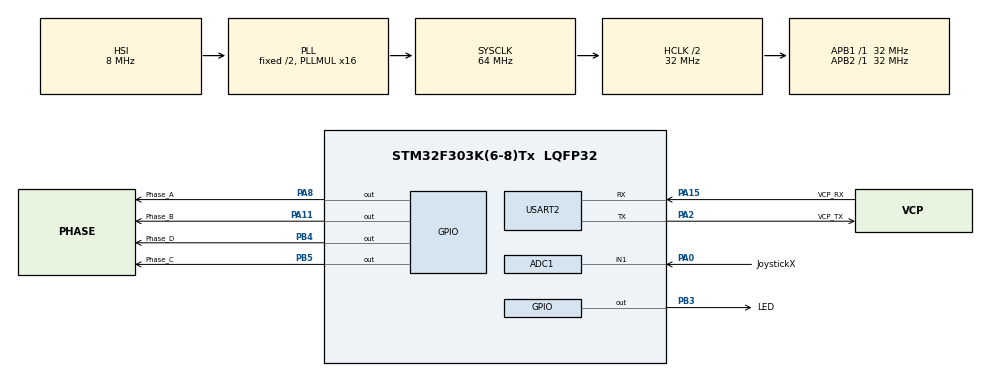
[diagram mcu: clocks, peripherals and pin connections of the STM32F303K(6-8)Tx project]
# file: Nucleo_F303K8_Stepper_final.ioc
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Mcu.Family=STM32F3
RCC.CortexFreq_Value=32000000
ADC1.Rank-0\#ChannelRegularConversion=1
PF0\ /\ OSC_IN.Mode=HSE-External-Clock-Source
ADC1.OffsetNumber-0\#ChannelRegularConversion=ADC_OFFSET_NONE
PA14.GPIO_Label=SWCLK
RCC.SYSCLKSourceVirtual=RCC_SYSCLKSOURCE_PLLCLK
PA0.GPIO_Label=JoystickX
PA11.GPIO_Label=Phase_B
VP_TIM16_VS_ClockSourceINT.Mode=Enable_Timer
NVIC.USART2_IRQn=true\:0\:0\:false\:false\:true\:true\:true
ProjectManager.StackSize=0x400
PA13.Signal=SYS_JTMS-SWDIO
PA15.GPIO_Label=VCP_RX
PA8.GPIO_Label=Phase_A
ProjectManager.TargetToolchain=STM32CubeIDE
ADC1.SamplingTimeOPAMP-0\#ChannelRegularConversion=ADC_SAMPLETIME_61CYCLES_5
ADC1.Offset-0\#ChannelRegularConversion=0
RCC.HCLKFreq_Value=32000000
RCC.APB2TimFreq_Value=32000000
ADC1.SubFamily=STM32F303x8
RCC.AHBFreq_Value=32000000
ADC1.Channel-0\#ChannelRegularConversion=ADC_CHANNEL_1
RCC.HSE_VALUE=8000000
board=NUCLEO-F303K8
USART2.VirtualMode-Asynchronous=VM_ASYNC
PA15.Mode=Asynchronous
RCC.PLLMUL=RCC_PLL_MUL16
TIM16.Period=1
RCC.APB2Freq_Value=32000000
PF0\ /\ OSC_IN.Signal=RCC_OSC_IN
PB4.GPIO_Label=Phase_D
PA14.Mode=Serial_Wire
PF0\ /\ OSC_IN.GPIO_Label=MCO
PA0.Mode=IN1-Single-Ended
PA8.Signal=GPIO_Output
RCC.AHBCLKDivider=RCC_SYSCLK_DIV2
PA13.Mode=Serial_Wire
Mcu.Name=STM32F303K(6-8)Tx
ADC1.SamplingTime-0\#ChannelRegularConversion=ADC_SAMPLETIME_1CYCLE_5
PA2.Signal=USART2_TX
PA13.GPIO_Label=SWDIO
PA0.Signal=ADC1_IN1
PB3.Signal=GPIO_Output
RCC.SYSCLKFreq_VALUE=64000000
Mcu.Package=LQFP32
PB5.Signal=GPIO_Output
ADC1.master=1
PA2.GPIO_Label=VCP_TX
PA11.Signal=GPIO_Output
PA14.Signal=SYS_JTCK-SWCLK
PA15.Signal=USART2_RX
ProjectManager.HeapSize=0x200
RCC.HSI_VALUE=8000000
NVIC.TIM1_UP_TIM16_IRQn=true\:0\:0\:false\:false\:true\:true\:true
NVIC.PriorityGroup=NVIC_PRIORITYGROUP_4
ADC1.NbrOfConversionFlag=1
PB5.GPIO_Label=Phase_C
RCC.APB1TimFreq_Value=32000000
PA2.Mode=Asynchronous
TIM16.Prescaler=16000-1
RCC.APB1Freq_Value=32000000
PB4.Signal=GPIO_Output
PB3.GPIO_Label=LED

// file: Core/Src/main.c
/* USER CODE BEGIN Header */
/**
  ******************************************************************************
  * @file           : main.c
  * @brief          : Main program body
  ******************************************************************************
  * @attention
  *
  * <h2><center>&copy; Copyright (c) 2021 STMicroelectronics.
  * All rights reserved.</center></h2>
  *
  * This software component is licensed by ST under BSD 3-Clause license,
  * the "License"; You may not use this file except in compliance with the
  * License. You may obtain a copy of the License at:
  *                        opensource.org/licenses/BSD-3-Clause
  *
  ******************************************************************************
  */
/* USER CODE END Header */
#include "main.h"

/* USER CODE BEGIN Includes */
#include <stdio.h>		// sprintf
#include <string.h>		// strlen
#include "statemachine.h"
#include "joystick.h"
/* USER CODE END Includes */

ADC_HandleTypeDef hadc1;

TIM_HandleTypeDef htim16;

UART_HandleTypeDef huart2;

/* USER CODE BEGIN PV */

char txBuf[TXBUFLEN];
unsigned int Iteration = 0;

char rxBuf[RXBUFLEN];
unsigned int rxBufIndex = 0;
char rxChar; // used for reading into RxBuf one character at a time

unsigned long ms_tick = 0;			// ms tick, used in TIM16 ISR

/* USER CODE END PV */

void SystemClock_Config(void);
static void MX_GPIO_Init(void);
static void MX_USART2_UART_Init(void);
static void MX_TIM16_Init(void);
static void MX_ADC1_Init(void);

int main(void)
{

  /* MCU Configuration--------------------------------------------------------*/

  /* Reset of all peripherals, Initializes the Flash interface and the Systick. */
  HAL_Init();

  /* Configure the system clock */
  SystemClock_Config();

  /* Initialize all configured peripherals */
  MX_GPIO_Init();
  MX_USART2_UART_Init();
  MX_TIM16_Init();
  MX_ADC1_Init();
  /* USER CODE BEGIN 2 */

  JoystickInit(20, 0.25);
  StateMachineInit();				// put my state machine into a known state
  HAL_TIM_Base_Start_IT(&htim16);	// start the 1ms timer

  sprintf (txBuf, "Nucleo_F303K8_Stepper\r\n");
  HAL_UART_Transmit_IT (&huart2, (uint8_t *)txBuf, strlen (txBuf));

  HAL_UART_Receive_IT(&huart2, (uint8_t *)&rxChar, 1);	// kick off the reading
  /* USER CODE END 2 */

  /* Infinite loop */
  while (1)
  {

    /* USER CODE BEGIN 3 */
	  //sprintf (txBuf, "Iteration %04d\r\n", Iteration);
	  Iteration++;
	  //HAL_UART_Transmit_IT (&huart2, (uint8_t*)txBuf, strlen (txBuf));
	  HAL_Delay(995);
  }
  /* USER CODE END 3 */
}

void SystemClock_Config(void)
{
  RCC_OscInitTypeDef RCC_OscInitStruct = {0};
  RCC_ClkInitTypeDef RCC_ClkInitStruct = {0};
  RCC_PeriphCLKInitTypeDef PeriphClkInit = {0};

  /** Initializes the RCC Oscillators according to the specified parameters
  * in the RCC_OscInitTypeDef structure.
  */
  RCC_OscInitStruct.OscillatorType = RCC_OSCILLATORTYPE_HSI;
  RCC_OscInitStruct.HSIState = RCC_HSI_ON;
  RCC_OscInitStruct.HSICalibrationValue = RCC_HSICALIBRATION_DEFAULT;
  RCC_OscInitStruct.PLL.PLLState = RCC_PLL_ON;
  RCC_OscInitStruct.PLL.PLLSource = RCC_PLLSOURCE_HSI;
  RCC_OscInitStruct.PLL.PLLMUL = RCC_PLL_MUL16;
  if (HAL_RCC_OscConfig(&RCC_OscInitStruct) != HAL_OK)
  {
    Error_Handler();
  }
  /** Initializes the CPU, AHB and APB buses clocks
  */
  RCC_ClkInitStruct.ClockType = RCC_CLOCKTYPE_HCLK|RCC_CLOCKTYPE_SYSCLK
                              |RCC_CLOCKTYPE_PCLK1|RCC_CLOCKTYPE_PCLK2;
  RCC_ClkInitStruct.SYSCLKSource = RCC_SYSCLKSOURCE_PLLCLK;
  RCC_ClkInitStruct.AHBCLKDivider = RCC_SYSCLK_DIV2;
  RCC_ClkInitStruct.APB1CLKDivider = RCC_HCLK_DIV1;
  RCC_ClkInitStruct.APB2CLKDivider = RCC_HCLK_DIV1;

  if (HAL_RCC_ClockConfig(&RCC_ClkInitStruct, FLASH_LATENCY_1) != HAL_OK)
  {
    Error_Handler();
  }
  PeriphClkInit.PeriphClockSelection = RCC_PERIPHCLK_ADC12;
  PeriphClkInit.Adc12ClockSelection = RCC_ADC12PLLCLK_DIV1;
  if (HAL_RCCEx_PeriphCLKConfig(&PeriphClkInit) != HAL_OK)
  {
    Error_Handler();
  }
}

static void MX_ADC1_Init(void)
{

  ADC_MultiModeTypeDef multimode = {0};
  ADC_ChannelConfTypeDef sConfig = {0};

  /** Common config
  */
  hadc1.Instance = ADC1;
  hadc1.Init.ClockPrescaler = ADC_CLOCK_ASYNC_DIV1;
  hadc1.Init.Resolution = ADC_RESOLUTION_12B;
  hadc1.Init.ScanConvMode = ADC_SCAN_DISABLE;
  hadc1.Init.ContinuousConvMode = DISABLE;
  hadc1.Init.DiscontinuousConvMode = DISABLE;
  hadc1.Init.ExternalTrigConvEdge = ADC_EXTERNALTRIGCONVEDGE_NONE;
  hadc1.Init.ExternalTrigConv = ADC_SOFTWARE_START;
  hadc1.Init.DataAlign = ADC_DATAALIGN_RIGHT;
  hadc1.Init.NbrOfConversion = 1;
  hadc1.Init.DMAContinuousRequests = DISABLE;
  hadc1.Init.EOCSelection = ADC_EOC_SINGLE_CONV;
  hadc1.Init.LowPowerAutoWait = DISABLE;
  hadc1.Init.Overrun = ADC_OVR_DATA_OVERWRITTEN;
  if (HAL_ADC_Init(&hadc1) != HAL_OK)
  {
    Error_Handler();
  }
  /** Configure the ADC multi-mode
  */
  multimode.Mode = ADC_MODE_INDEPENDENT;
  if (HAL_ADCEx_MultiModeConfigChannel(&hadc1, &multimode) != HAL_OK)
  {
    Error_Handler();
  }
  /** Configure Regular Channel
  */
  sConfig.Channel = ADC_CHANNEL_1;
  sConfig.Rank = ADC_REGULAR_RANK_1;
  sConfig.SingleDiff = ADC_SINGLE_ENDED;
  sConfig.SamplingTime = ADC_SAMPLETIME_1CYCLE_5;
  sConfig.OffsetNumber = ADC_OFFSET_NONE;
  sConfig.Offset = 0;
  if (HAL_ADC_ConfigChannel(&hadc1, &sConfig) != HAL_OK)
  {
    Error_Handler();
  }

}

static void MX_TIM16_Init(void)
{

  htim16.Instance = TIM16;
  htim16.Init.Prescaler = 16000-1;
  htim16.Init.CounterMode = TIM_COUNTERMODE_UP;
  htim16.Init.Period = 1;
  htim16.Init.ClockDivision = TIM_CLOCKDIVISION_DIV1;
  htim16.Init.RepetitionCounter = 0;
  htim16.Init.AutoReloadPreload = TIM_AUTORELOAD_PRELOAD_DISABLE;
  if (HAL_TIM_Base_Init(&htim16) != HAL_OK)
  {
    Error_Handler();
  }

}

static void MX_USART2_UART_Init(void)
{

  huart2.Instance = USART2;
  huart2.Init.BaudRate = 38400;
  huart2.Init.WordLength = UART_WORDLENGTH_8B;
  huart2.Init.StopBits = UART_STOPBITS_1;
  huart2.Init.Parity = UART_PARITY_NONE;
  huart2.Init.Mode = UART_MODE_TX_RX;
  huart2.Init.HwFlowCtl = UART_HWCONTROL_NONE;
  huart2.Init.OverSampling = UART_OVERSAMPLING_16;
  huart2.Init.OneBitSampling = UART_ONE_BIT_SAMPLE_DISABLE;
  huart2.AdvancedInit.AdvFeatureInit = UART_ADVFEATURE_NO_INIT;
  if (HAL_UART_Init(&huart2) != HAL_OK)
  {
    Error_Handler();
  }

}

static void MX_GPIO_Init(void)
{
  GPIO_InitTypeDef GPIO_InitStruct = {0};

  /* GPIO Ports Clock Enable */
  __HAL_RCC_GPIOF_CLK_ENABLE();
  __HAL_RCC_GPIOA_CLK_ENABLE();
  __HAL_RCC_GPIOB_CLK_ENABLE();

  /*Configure GPIO pin Output Level */
  HAL_GPIO_WritePin(GPIOA, Phase_A_Pin|Phase_B_Pin, GPIO_PIN_RESET);

  /*Configure GPIO pin Output Level */
  HAL_GPIO_WritePin(GPIOB, LED_Pin|Phase_D_Pin|Phase_C_Pin, GPIO_PIN_RESET);

  /*Configure GPIO pins : Phase_A_Pin Phase_B_Pin */
  GPIO_InitStruct.Pin = Phase_A_Pin|Phase_B_Pin;
  GPIO_InitStruct.Mode = GPIO_MODE_OUTPUT_PP;
  GPIO_InitStruct.Pull = GPIO_NOPULL;
  GPIO_InitStruct.Speed = GPIO_SPEED_FREQ_LOW;
  HAL_GPIO_Init(GPIOA, &GPIO_InitStruct);

  /*Configure GPIO pins : LED_Pin Phase_D_Pin Phase_C_Pin */
  GPIO_InitStruct.Pin = LED_Pin|Phase_D_Pin|Phase_C_Pin;
  GPIO_InitStruct.Mode = GPIO_MODE_OUTPUT_PP;
  GPIO_InitStruct.Pull = GPIO_NOPULL;
  GPIO_InitStruct.Speed = GPIO_SPEED_FREQ_LOW;
  HAL_GPIO_Init(GPIOB, &GPIO_InitStruct);

}

/* USER CODE BEGIN 4 */

void HAL_UART_RxCpltCallback (UART_HandleTypeDef *huart)
{
/*
	sprintf (TxBuf, "Char = %02d\r\n", rxChar);
	HAL_UART_Transmit(&huart2, (uint8_t *)TxBuf, strlen (TxBuf), 999);
 */

	if (rxBufIndex == 0)
	{
		/* Quick commands that don't get put into rxBuf
		 * "1" - Left + start
		 * "2" - Right + start
		 * SPACE - toggle stop/start
		 */
		switch (rxChar)
		{
		case '1':
			State.Direction = ANTICLOCKWISE;
			State.RunState = RUNNING;
			break;
		case '2':
			State.Direction = CLOCKWISE;
			State.RunState = RUNNING;
			break;
		case ' ':
			if (State.RunState == RUNNING)
				State.RunState = STOPPED;
			else
				State.RunState = RUNNING;
			break;
		default:
			// not a quick command, so put it into the buffer
			*rxBuf = rxChar;
			rxBufIndex++;
			break;
		}
	}
	else
	{
#ifdef REJECTCR
		if (rxChar != '\r')
		{
			// check for message termination character
			if ((rxChar == '>') || (rxChar == '\n'))
#else
				if ((rxChar == '>') || (rxChar == '\n') || (rxChar == '\r'))
#endif
			{
				rxBuf[rxBufIndex] = (char)0;
				ParseUartCommand();
				__NOP(); // for breakpoint
				rxBufIndex=0;
			}
			else
			{
				rxBuf[rxBufIndex] = rxChar;
				// point to next character in buffer
				rxBufIndex++;

				//wrap if necessary
				if (rxBufIndex == RXBUFLEN)
				{
					rxBufIndex=0;
				}
			}
#ifdef REJECTCR
		}
#endif
	}
	// init next read
//	HAL_UART_Receive_IT(&huart2, (uint8_t *)&(rxBuf[rxBufIndex]), 1);
	HAL_UART_Receive_IT(&huart2, (uint8_t *)&rxChar, 1);
}

/***********************
 *                     *
 *  Timer 16 (1ms) ISR *
 *                     *
 ***********************/

void HAL_TIM_PeriodElapsedCallback(TIM_HandleTypeDef *htim)
{
	if (htim == &htim16)
	{
		ms_tick++;

		// time for an ADC reading from the Joystick?
		if (ms_tick % 50 == 0)
		{
			JoystickReadingFiltered();
			InterpretADC();
			//sprintf (txBuf, "joy = %f\r\n", joyval);
			//HAL_UART_Transmit(&huart2, (uint8_t *)txBuf, strlen (txBuf), HAL_MAX_DELAY);
		}

		// If runstate is stopped, do nothing
		if (State.RunState == STOPPED)
		{
			return;
		}

		// not stopped - so do something

		// time to pulse the motor?
		if (ms_tick % State.PulseDelay == 0)
		{
			HAL_GPIO_TogglePin(LED_GPIO_Port, LED_Pin);
			//ms_tick=0;
			SetState(State.CurrentAngle & 0x07);

			// inc / dec the angle
			switch (State.Direction)
			{
			case CLOCKWISE:
				State.CurrentAngle++;
				if (State.CurrentAngle == 64*64)
				{
					State.CurrentAngle = 0;
				}
				break;
			case ANTICLOCKWISE:
				State.CurrentAngle--;
				if (State.CurrentAngle == -1)
				{
					State.CurrentAngle = 64*64-1;
				}
				break;
			default:
				break;
			}
		}
	}
}

/* USER CODE END 4 */

void Error_Handler(void)
{
  __disable_irq();
  while (1)
  {
  }
}

/************************ (C) COPYRIGHT STMicroelectronics *****END OF FILE****/
